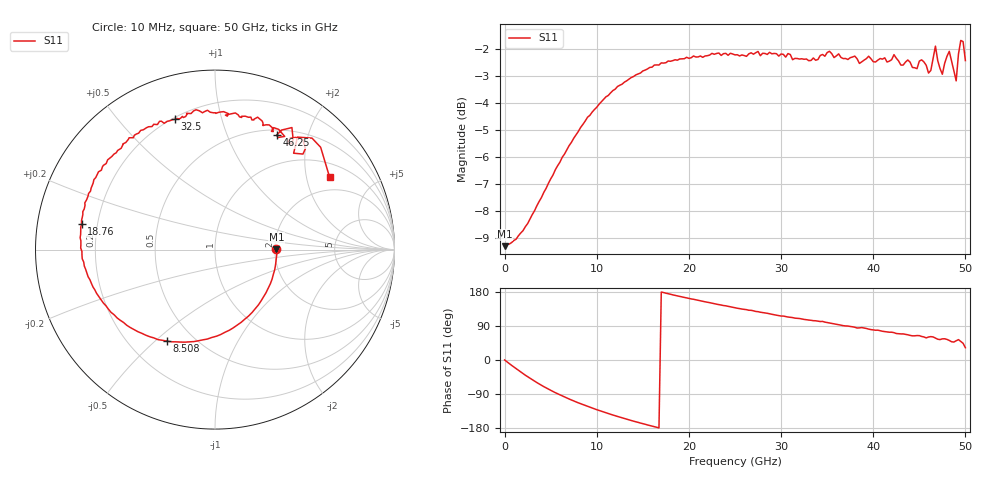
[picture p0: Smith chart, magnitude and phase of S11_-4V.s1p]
!Agilent Technologies,N5227A,US51270434,A.10.00.00
!Agilent N5227A: A.10.00.00
!Date: Thursday, February 26, 2026 12:46:48
!Correction: S11(Full 1 Port(1))
!S1P File: Measurement: S11:
# Hz S  dB  R 50
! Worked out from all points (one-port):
!   201 points, 10 MHz to 50 GHz, reference 50 ohm
!   lowest |S11| = -9.3 dB at 10 MHz (marker M1), VSWR 2.04, Z = 102 + j0.138 ohm
!   |S11| at or under -10 dB: nowhere
!   S11 on the Smith chart (normalised r, x): 10 MHz: 2.04, +0.00; 8.508 GHz: 0.36, -0.55; 18.76 GHz: 0.14, +0.09; 32.5 GHz: 0.21, +0.72; 46.25 GHz: 0.57, +1.52; 50 GHz: 1.46, +2.75
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1e7  -9.31 0.1
3.0094e9  -8.14 -51.9
6.25875e9  -6.02 -94.9
8.5083e9  -4.79 -117.7
1.25075e10  -3.35 -150.8
1.575685e10  -2.69 -172.8
1.875625e10  -2.42 169.2
2.25055e10  -2.17 150.0
2.5005e10  -2.22 137.9
2.875425e10  -2.13 121.9
3.125375e10  -2.40 111.9
3.25035e10  -2.38 107.1
3.45031e10  -2.21 101.8
3.75025e10  -2.33 88.5
4.375125e10  -2.41 66.5
4.475105e10  -2.73 64.5
4.575085e10  -2.61 58.4
4.625075e10  -2.80 61.7
4.675065e10  -1.90 57.8
4.725055e10  -2.73 53.9
4.75005e10  -2.94 55.8
4.825035e10  -2.09 51.6
4.875025e10  -2.81 47.4
4.90002e10  -3.19 50.8
4.925015e10  -2.19 53.7
4.95001e10  -1.69 49.0
4.975005e10  -1.73 44.1
5e10  -2.43 32.3
